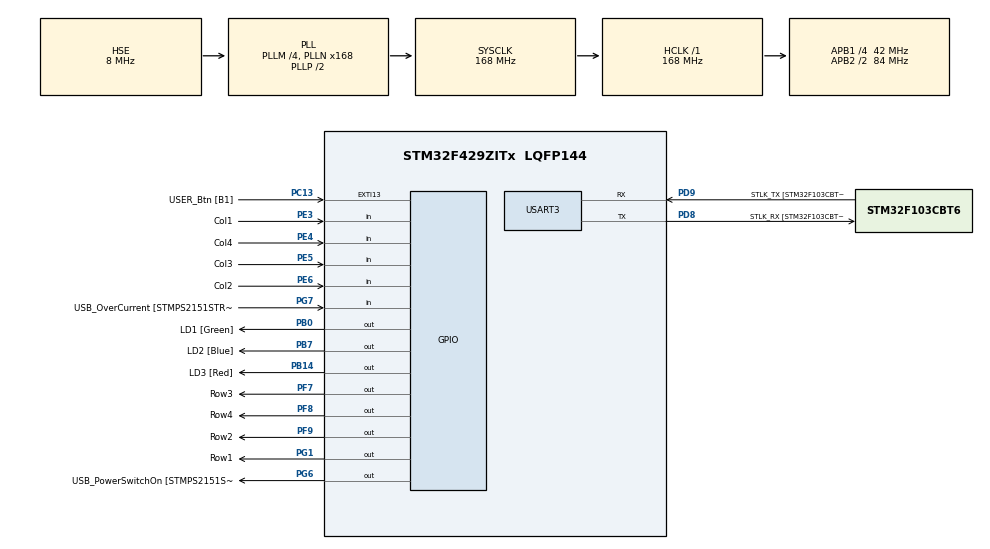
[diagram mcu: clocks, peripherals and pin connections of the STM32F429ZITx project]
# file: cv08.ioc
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Mcu.Family=STM32F4
Mcu.Name=STM32F429ZITx
Mcu.Package=LQFP144
NVIC.PriorityGroup=NVIC_PRIORITYGROUP_4
NVIC.TIM3_IRQn=true\:0\:0\:false\:false\:true\:true\:true
PA1.GPIO_Label=RMII_REF_CLK [LAN8742A-CZ-TR_REFCLK0]
PA1.Signal=ETH_REF_CLK
PA10.GPIO_Label=USB_ID
PA10.Signal=USB_OTG_FS_ID
PA11.GPIO_Label=USB_DM
PA11.Signal=USB_OTG_FS_DM
PA12.GPIO_Label=USB_DP
PA12.Signal=USB_OTG_FS_DP
PA13.GPIO_Label=TMS
PA13.Mode=Serial_Wire
PA13.Signal=SYS_JTMS-SWDIO
PA14.GPIO_Label=TCK
PA14.Mode=Serial_Wire
PA14.Signal=SYS_JTCK-SWCLK
PA2.GPIO_Label=RMII_MDIO [LAN8742A-CZ-TR_MDIO]
PA2.Signal=ETH_MDIO
PA7.GPIO_Label=RMII_CRS_DV [LAN8742A-CZ-TR_CRS_DV]
PA7.Signal=ETH_CRS_DV
PA8.GPIO_Label=USB_SOF [TP1]
PA8.Signal=USB_OTG_FS_SOF
PA9.GPIO_Label=USB_VBUS
PA9.Signal=USB_OTG_FS_VBUS
PB0.GPIO_Label=LD1 [Green]
PB0.Signal=GPIO_Output
PB13.GPIO_Label=RMII_TXD1 [LAN8742A-CZ-TR_TXD1]
PB13.Signal=ETH_TXD1
PB14.GPIO_Label=LD3 [Red]
PB14.Signal=GPIO_Output
PB7.GPIO_Label=LD2 [Blue]
PB7.Signal=GPIO_Output
PC1.GPIO_Label=RMII_MDC [LAN8742A-CZ-TR_MDC]
PC1.Signal=ETH_MDC
PC13.GPIO_Label=USER_Btn [B1]
PC13.Signal=GPXTI13
PC14/OSC32_IN.Mode=LSE-External-Oscillator
PC14/OSC32_IN.Signal=RCC_OSC32_IN
PC15/OSC32_OUT.Mode=LSE-External-Oscillator
PC15/OSC32_OUT.Signal=RCC_OSC32_OUT
PC4.GPIO_Label=RMII_RXD0 [LAN8742A-CZ-TR_RXD0]
PC4.Signal=ETH_RXD0
PC5.GPIO_Label=RMII_RXD1 [LAN8742A-CZ-TR_RXD1]
PC5.Signal=ETH_RXD1
PD8.GPIO_Label=STLK_RX [STM32F103CBT6_PA3]
PD8.Mode=Asynchronous
PD8.Signal=USART3_TX
PD9.GPIO_Label=STLK_TX [STM32F103CBT6_PA2]
PD9.Mode=Asynchronous
PD9.Signal=USART3_RX
PE3.GPIO_Label=Col1
PE3.GPIO_PuPd=GPIO_PULLUP
PE3.Signal=GPIO_Input
PE4.GPIO_Label=Col4
PE4.GPIO_PuPd=GPIO_PULLUP
PE4.Signal=GPIO_Input
PE5.GPIO_Label=Col3
PE5.GPIO_PuPd=GPIO_PULLUP
PE5.Signal=GPIO_Input
PE6.GPIO_Label=Col2
PE6.GPIO_PuPd=GPIO_PULLUP
PE6.Signal=GPIO_Input
PF7.GPIO_Label=Row3
PF7.GPIO_ModeDefaultOutputPP=GPIO_MODE_OUTPUT_OD
PF7.Signal=GPIO_Output
PF8.GPIO_Label=Row4
PF8.GPIO_ModeDefaultOutputPP=GPIO_MODE_OUTPUT_OD
PF8.Signal=GPIO_Output
PF9.GPIO_Label=Row2
PF9.GPIO_ModeDefaultOutputPP=GPIO_MODE_OUTPUT_OD
PF9.Signal=GPIO_Output
PG1.GPIO_Label=Row1
PG1.GPIO_ModeDefaultOutputPP=GPIO_MODE_OUTPUT_OD
PG1.Signal=GPIO_Output
PG11.GPIO_Label=RMII_TX_EN [LAN8742A-CZ-TR_TXEN]
PG11.Signal=ETH_TX_EN
PG13.GPIO_Label=RMII_TXD0 [LAN8742A-CZ-TR_TXD0]
PG13.Signal=ETH_TXD0
PG6.GPIO_Label=USB_PowerSwitchOn [STMPS2151STR_EN]
PG6.Signal=GPIO_Output
PG7.GPIO_Label=USB_OverCurrent [STMPS2151STR_FAULT]
PG7.Signal=GPIO_Input
PH0/OSC_IN.GPIO_Label=MCO [STM32F103CBT6_PA8]
PH0/OSC_IN.Mode=HSE-External-Clock-Source
PH0/OSC_IN.Signal=RCC_OSC_IN
PH1/OSC_OUT.Mode=HSE-External-Clock-Source
PH1/OSC_OUT.Signal=RCC_OSC_OUT
ProjectManager.HeapSize=0x200
ProjectManager.StackSize=0x400
ProjectManager.TargetToolchain=STM32CubeIDE
RCC.48MHZClocksFreq_Value=48000000
RCC.AHBFreq_Value=168000000
RCC.APB1CLKDivider=RCC_HCLK_DIV4
RCC.APB1Freq_Value=42000000
RCC.APB1TimFreq_Value=84000000
RCC.APB2CLKDivider=RCC_HCLK_DIV2
RCC.APB2Freq_Value=84000000
RCC.APB2TimCLKDivider=2
RCC.APB2TimFreq_Value=168000000
RCC.CortexFreq_Value=168000000
RCC.HCLKFreq_Value=168000000
RCC.HSE_VALUE=8000000
RCC.HSI_VALUE=16000000
RCC.PLLM=4
RCC.PLLMUL=RCC_PLL_MUL9
RCC.PLLN=168
RCC.PLLQ=7
RCC.PLLSourceVirtual=RCC_PLLSOURCE_HSE
RCC.PRESCALERUSB=RCC_USBCLKSOURCE_PLL_DIV1_5
RCC.SYSCLKFreq_VALUE=168000000
RCC.SYSCLKSource=RCC_SYSCLKSOURCE_PLLCLK
RCC.SYSCLKSourceVirtual=RCC_SYSCLKSOURCE_PLLCLK
RCC.USBFreq_Value=48000000
RCC.VCOOutputFreq_Value=336000000
USART3.VirtualMode=VM_ASYNC
VP_TIM3_VS_ClockSourceINT.Mode=Internal
board=NUCLEO-F429ZI

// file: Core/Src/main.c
/* USER CODE BEGIN Header */
/**
 ******************************************************************************
 * @file           : main.c
 * @brief          : Main program body
 ******************************************************************************
 * @attention
 *
 * <h2><center>&copy; Copyright (c) 2021 STMicroelectronics.
 * All rights reserved.</center></h2>
 *
 * This software component is licensed by ST under BSD 3-Clause license,
 * the "License"; You may not use this file except in compliance with the
 * License. You may obtain a copy of the License at:
 *                        opensource.org/licenses/BSD-3-Clause
 *
 ******************************************************************************
 */
/* USER CODE END Header */
#include "main.h"

/* USER CODE BEGIN Includes */
#include <stdio.h>
/* USER CODE END Includes */

TIM_HandleTypeDef htim3;

UART_HandleTypeDef huart3;

/* USER CODE BEGIN PV */
static volatile int8_t key = -1;
/* USER CODE END PV */

void SystemClock_Config(void);
static void MX_GPIO_Init(void);
static void MX_USART3_UART_Init(void);
static void MX_TIM3_Init(void);

/* USER CODE BEGIN 0 */

int __io_putchar(int ch)
{
	ITM_SendChar(ch);
	return 0;
}

void HAL_TIM_PeriodElapsedCallback(TIM_HandleTypeDef *htim)
{
	static int row = 0;
	static const int keyboard[4][4] = {
			{ 1, 2, 3, 21 },
			{ 4, 5, 6, 22 },
			{ 7, 8, 9, 23 },
			{ 11, 0, 12, 24 },
	};

	if (key == -1) {
		if (HAL_GPIO_ReadPin(Col1_GPIO_Port, Col1_Pin) == GPIO_PIN_RESET) key = keyboard[row][0];
		if (HAL_GPIO_ReadPin(Col2_GPIO_Port, Col2_Pin) == GPIO_PIN_RESET) key = keyboard[row][1];
		if (HAL_GPIO_ReadPin(Col3_GPIO_Port, Col3_Pin) == GPIO_PIN_RESET) key = keyboard[row][2];
		if (HAL_GPIO_ReadPin(Col4_GPIO_Port, Col4_Pin) == GPIO_PIN_RESET) key = keyboard[row][3];
	}

	HAL_GPIO_WritePin(Row1_GPIO_Port, Row1_Pin, GPIO_PIN_SET);
	HAL_GPIO_WritePin(Row2_GPIO_Port, Row2_Pin, GPIO_PIN_SET);
	HAL_GPIO_WritePin(Row3_GPIO_Port, Row3_Pin, GPIO_PIN_SET);
	HAL_GPIO_WritePin(Row4_GPIO_Port, Row4_Pin, GPIO_PIN_SET);

	switch (row) {
	case 0: row = 1; HAL_GPIO_WritePin(Row2_GPIO_Port, Row2_Pin, GPIO_PIN_RESET); break;
	case 1: row = 2; HAL_GPIO_WritePin(Row3_GPIO_Port, Row3_Pin, GPIO_PIN_RESET); break;
	case 2: row = 3; HAL_GPIO_WritePin(Row4_GPIO_Port, Row4_Pin, GPIO_PIN_RESET); break;
	case 3: row = 0; HAL_GPIO_WritePin(Row1_GPIO_Port, Row1_Pin, GPIO_PIN_RESET); break;
	}
}

/* USER CODE END 0 */

int main(void)
{

  /* MCU Configuration--------------------------------------------------------*/

  /* Reset of all peripherals, Initializes the Flash interface and the Systick. */
  HAL_Init();

  /* Configure the system clock */
  SystemClock_Config();

  /* Initialize all configured peripherals */
  MX_GPIO_Init();
  MX_USART3_UART_Init();
  MX_TIM3_Init();
  /* USER CODE BEGIN 2 */
	printf("test\n");
	HAL_TIM_Base_Start_IT(&htim3);
	const uint8_t code[5] = { 7, 9, 3, 2, 12 };
	uint8_t pos = 0;
	uint32_t timeout = HAL_GetTick();
  /* USER CODE END 2 */

  /* Infinite loop */
  /* USER CODE BEGIN WHILE */
	while (1)
	{

	/*
    HAL_GPIO_TogglePin(LD1_GPIO_Port, LD1_Pin);
    HAL_Delay(250);
	*/
/*
		if (key != -1)
		{
			printf("stisknuto: %d \n", key);
			HAL_Delay(500);
			key = -1;
		}
*/

		if (key != -1)
		{
			if (key == code[pos])
			{
				pos++;
				printf("code = %d > pos = %d \n", key, pos);
				timeout = HAL_GetTick();

				if (pos == sizeof(code))
				{
					HAL_GPIO_TogglePin(LD1_GPIO_Port, LD1_Pin);
					pos = 0;
				}
			}

			else
			{
				pos = 0;
				printf("code = %d > pos = %d \n", key, pos);
			}

			HAL_Delay(250);
			key = -1;
		}

		if ((HAL_GetTick()-timeout >= 3000) && (pos != 0))
		{
			pos = 0;
			printf("timeout \n");
		}

    /* USER CODE END WHILE */

	}
}

void SystemClock_Config(void)
{
  RCC_OscInitTypeDef RCC_OscInitStruct = {0};
  RCC_ClkInitTypeDef RCC_ClkInitStruct = {0};

  /** Configure the main internal regulator output voltage
  */
  __HAL_RCC_PWR_CLK_ENABLE();
  __HAL_PWR_VOLTAGESCALING_CONFIG(PWR_REGULATOR_VOLTAGE_SCALE1);
  /** Initializes the RCC Oscillators according to the specified parameters
  * in the RCC_OscInitTypeDef structure.
  */
  RCC_OscInitStruct.OscillatorType = RCC_OSCILLATORTYPE_HSE;
  RCC_OscInitStruct.HSEState = RCC_HSE_BYPASS;
  RCC_OscInitStruct.PLL.PLLState = RCC_PLL_ON;
  RCC_OscInitStruct.PLL.PLLSource = RCC_PLLSOURCE_HSE;
  RCC_OscInitStruct.PLL.PLLM = 4;
  RCC_OscInitStruct.PLL.PLLN = 168;
  RCC_OscInitStruct.PLL.PLLP = RCC_PLLP_DIV2;
  RCC_OscInitStruct.PLL.PLLQ = 7;
  if (HAL_RCC_OscConfig(&RCC_OscInitStruct) != HAL_OK)
  {
    Error_Handler();
  }
  /** Initializes the CPU, AHB and APB buses clocks
  */
  RCC_ClkInitStruct.ClockType = RCC_CLOCKTYPE_HCLK|RCC_CLOCKTYPE_SYSCLK
                              |RCC_CLOCKTYPE_PCLK1|RCC_CLOCKTYPE_PCLK2;
  RCC_ClkInitStruct.SYSCLKSource = RCC_SYSCLKSOURCE_PLLCLK;
  RCC_ClkInitStruct.AHBCLKDivider = RCC_SYSCLK_DIV1;
  RCC_ClkInitStruct.APB1CLKDivider = RCC_HCLK_DIV4;
  RCC_ClkInitStruct.APB2CLKDivider = RCC_HCLK_DIV2;

  if (HAL_RCC_ClockConfig(&RCC_ClkInitStruct, FLASH_LATENCY_5) != HAL_OK)
  {
    Error_Handler();
  }
}

static void MX_TIM3_Init(void)
{

  TIM_ClockConfigTypeDef sClockSourceConfig = {0};
  TIM_MasterConfigTypeDef sMasterConfig = {0};

  htim3.Instance = TIM3;
  htim3.Init.Prescaler = 0;
  htim3.Init.CounterMode = TIM_COUNTERMODE_UP;
  htim3.Init.Period = 65535;
  htim3.Init.ClockDivision = TIM_CLOCKDIVISION_DIV1;
  htim3.Init.AutoReloadPreload = TIM_AUTORELOAD_PRELOAD_DISABLE;
  if (HAL_TIM_Base_Init(&htim3) != HAL_OK)
  {
    Error_Handler();
  }
  sClockSourceConfig.ClockSource = TIM_CLOCKSOURCE_INTERNAL;
  if (HAL_TIM_ConfigClockSource(&htim3, &sClockSourceConfig) != HAL_OK)
  {
    Error_Handler();
  }
  sMasterConfig.MasterOutputTrigger = TIM_TRGO_RESET;
  sMasterConfig.MasterSlaveMode = TIM_MASTERSLAVEMODE_DISABLE;
  if (HAL_TIMEx_MasterConfigSynchronization(&htim3, &sMasterConfig) != HAL_OK)
  {
    Error_Handler();
  }

}

static void MX_USART3_UART_Init(void)
{

  huart3.Instance = USART3;
  huart3.Init.BaudRate = 115200;
  huart3.Init.WordLength = UART_WORDLENGTH_8B;
  huart3.Init.StopBits = UART_STOPBITS_1;
  huart3.Init.Parity = UART_PARITY_NONE;
  huart3.Init.Mode = UART_MODE_TX_RX;
  huart3.Init.HwFlowCtl = UART_HWCONTROL_NONE;
  huart3.Init.OverSampling = UART_OVERSAMPLING_16;
  if (HAL_UART_Init(&huart3) != HAL_OK)
  {
    Error_Handler();
  }

}

static void MX_GPIO_Init(void)
{
  GPIO_InitTypeDef GPIO_InitStruct = {0};

  /* GPIO Ports Clock Enable */
  __HAL_RCC_GPIOE_CLK_ENABLE();
  __HAL_RCC_GPIOC_CLK_ENABLE();
  __HAL_RCC_GPIOF_CLK_ENABLE();
  __HAL_RCC_GPIOH_CLK_ENABLE();
  __HAL_RCC_GPIOA_CLK_ENABLE();
  __HAL_RCC_GPIOB_CLK_ENABLE();
  __HAL_RCC_GPIOG_CLK_ENABLE();
  __HAL_RCC_GPIOD_CLK_ENABLE();

  /*Configure GPIO pin Output Level */
  HAL_GPIO_WritePin(GPIOF, Row3_Pin|Row4_Pin|Row2_Pin, GPIO_PIN_RESET);

  /*Configure GPIO pin Output Level */
  HAL_GPIO_WritePin(GPIOB, LD1_Pin|LD3_Pin|LD2_Pin, GPIO_PIN_RESET);

  /*Configure GPIO pin Output Level */
  HAL_GPIO_WritePin(GPIOG, Row1_Pin|USB_PowerSwitchOn_Pin, GPIO_PIN_RESET);

  /*Configure GPIO pins : Col1_Pin Col4_Pin Col3_Pin Col2_Pin */
  GPIO_InitStruct.Pin = Col1_Pin|Col4_Pin|Col3_Pin|Col2_Pin;
  GPIO_InitStruct.Mode = GPIO_MODE_INPUT;
  GPIO_InitStruct.Pull = GPIO_PULLUP;
  HAL_GPIO_Init(GPIOE, &GPIO_InitStruct);

  /*Configure GPIO pin : USER_Btn_Pin */
  GPIO_InitStruct.Pin = USER_Btn_Pin;
  GPIO_InitStruct.Mode = GPIO_MODE_IT_RISING;
  GPIO_InitStruct.Pull = GPIO_NOPULL;
  HAL_GPIO_Init(USER_Btn_GPIO_Port, &GPIO_InitStruct);

  /*Configure GPIO pins : Row3_Pin Row4_Pin Row2_Pin */
  GPIO_InitStruct.Pin = Row3_Pin|Row4_Pin|Row2_Pin;
  GPIO_InitStruct.Mode = GPIO_MODE_OUTPUT_OD;
  GPIO_InitStruct.Pull = GPIO_NOPULL;
  GPIO_InitStruct.Speed = GPIO_SPEED_FREQ_LOW;
  HAL_GPIO_Init(GPIOF, &GPIO_InitStruct);

  /*Configure GPIO pins : RMII_MDC_Pin RMII_RXD0_Pin RMII_RXD1_Pin */
  GPIO_InitStruct.Pin = RMII_MDC_Pin|RMII_RXD0_Pin|RMII_RXD1_Pin;
  GPIO_InitStruct.Mode = GPIO_MODE_AF_PP;
  GPIO_InitStruct.Pull = GPIO_NOPULL;
  GPIO_InitStruct.Speed = GPIO_SPEED_FREQ_VERY_HIGH;
  GPIO_InitStruct.Alternate = GPIO_AF11_ETH;
  HAL_GPIO_Init(GPIOC, &GPIO_InitStruct);

  /*Configure GPIO pins : RMII_REF_CLK_Pin RMII_MDIO_Pin RMII_CRS_DV_Pin */
  GPIO_InitStruct.Pin = RMII_REF_CLK_Pin|RMII_MDIO_Pin|RMII_CRS_DV_Pin;
  GPIO_InitStruct.Mode = GPIO_MODE_AF_PP;
  GPIO_InitStruct.Pull = GPIO_NOPULL;
  GPIO_InitStruct.Speed = GPIO_SPEED_FREQ_VERY_HIGH;
  GPIO_InitStruct.Alternate = GPIO_AF11_ETH;
  HAL_GPIO_Init(GPIOA, &GPIO_InitStruct);

  /*Configure GPIO pins : LD1_Pin LD3_Pin LD2_Pin */
  GPIO_InitStruct.Pin = LD1_Pin|LD3_Pin|LD2_Pin;
  GPIO_InitStruct.Mode = GPIO_MODE_OUTPUT_PP;
  GPIO_InitStruct.Pull = GPIO_NOPULL;
  GPIO_InitStruct.Speed = GPIO_SPEED_FREQ_LOW;
  HAL_GPIO_Init(GPIOB, &GPIO_InitStruct);

  /*Configure GPIO pin : Row1_Pin */
  GPIO_InitStruct.Pin = Row1_Pin;
  GPIO_InitStruct.Mode = GPIO_MODE_OUTPUT_OD;
  GPIO_InitStruct.Pull = GPIO_NOPULL;
  GPIO_InitStruct.Speed = GPIO_SPEED_FREQ_LOW;
  HAL_GPIO_Init(Row1_GPIO_Port, &GPIO_InitStruct);

  /*Configure GPIO pin : RMII_TXD1_Pin */
  GPIO_InitStruct.Pin = RMII_TXD1_Pin;
  GPIO_InitStruct.Mode = GPIO_MODE_AF_PP;
  GPIO_InitStruct.Pull = GPIO_NOPULL;
  GPIO_InitStruct.Speed = GPIO_SPEED_FREQ_VERY_HIGH;
  GPIO_InitStruct.Alternate = GPIO_AF11_ETH;
  HAL_GPIO_Init(RMII_TXD1_GPIO_Port, &GPIO_InitStruct);

  /*Configure GPIO pin : USB_PowerSwitchOn_Pin */
  GPIO_InitStruct.Pin = USB_PowerSwitchOn_Pin;
  GPIO_InitStruct.Mode = GPIO_MODE_OUTPUT_PP;
  GPIO_InitStruct.Pull = GPIO_NOPULL;
  GPIO_InitStruct.Speed = GPIO_SPEED_FREQ_LOW;
  HAL_GPIO_Init(USB_PowerSwitchOn_GPIO_Port, &GPIO_InitStruct);

  /*Configure GPIO pin : USB_OverCurrent_Pin */
  GPIO_InitStruct.Pin = USB_OverCurrent_Pin;
  GPIO_InitStruct.Mode = GPIO_MODE_INPUT;
  GPIO_InitStruct.Pull = GPIO_NOPULL;
  HAL_GPIO_Init(USB_OverCurrent_GPIO_Port, &GPIO_InitStruct);

  /*Configure GPIO pins : USB_SOF_Pin USB_ID_Pin USB_DM_Pin USB_DP_Pin */
  GPIO_InitStruct.Pin = USB_SOF_Pin|USB_ID_Pin|USB_DM_Pin|USB_DP_Pin;
  GPIO_InitStruct.Mode = GPIO_MODE_AF_PP;
  GPIO_InitStruct.Pull = GPIO_NOPULL;
  GPIO_InitStruct.Speed = GPIO_SPEED_FREQ_VERY_HIGH;
  GPIO_InitStruct.Alternate = GPIO_AF10_OTG_FS;
  HAL_GPIO_Init(GPIOA, &GPIO_InitStruct);

  /*Configure GPIO pin : USB_VBUS_Pin */
  GPIO_InitStruct.Pin = USB_VBUS_Pin;
  GPIO_InitStruct.Mode = GPIO_MODE_INPUT;
  GPIO_InitStruct.Pull = GPIO_NOPULL;
  HAL_GPIO_Init(USB_VBUS_GPIO_Port, &GPIO_InitStruct);

  /*Configure GPIO pins : RMII_TX_EN_Pin RMII_TXD0_Pin */
  GPIO_InitStruct.Pin = RMII_TX_EN_Pin|RMII_TXD0_Pin;
  GPIO_InitStruct.Mode = GPIO_MODE_AF_PP;
  GPIO_InitStruct.Pull = GPIO_NOPULL;
  GPIO_InitStruct.Speed = GPIO_SPEED_FREQ_VERY_HIGH;
  GPIO_InitStruct.Alternate = GPIO_AF11_ETH;
  HAL_GPIO_Init(GPIOG, &GPIO_InitStruct);

}

void Error_Handler(void)
{
	__disable_irq();
	while (1)
	{
	}
}

/************************ (C) COPYRIGHT STMicroelectronics *****END OF FILE****/
